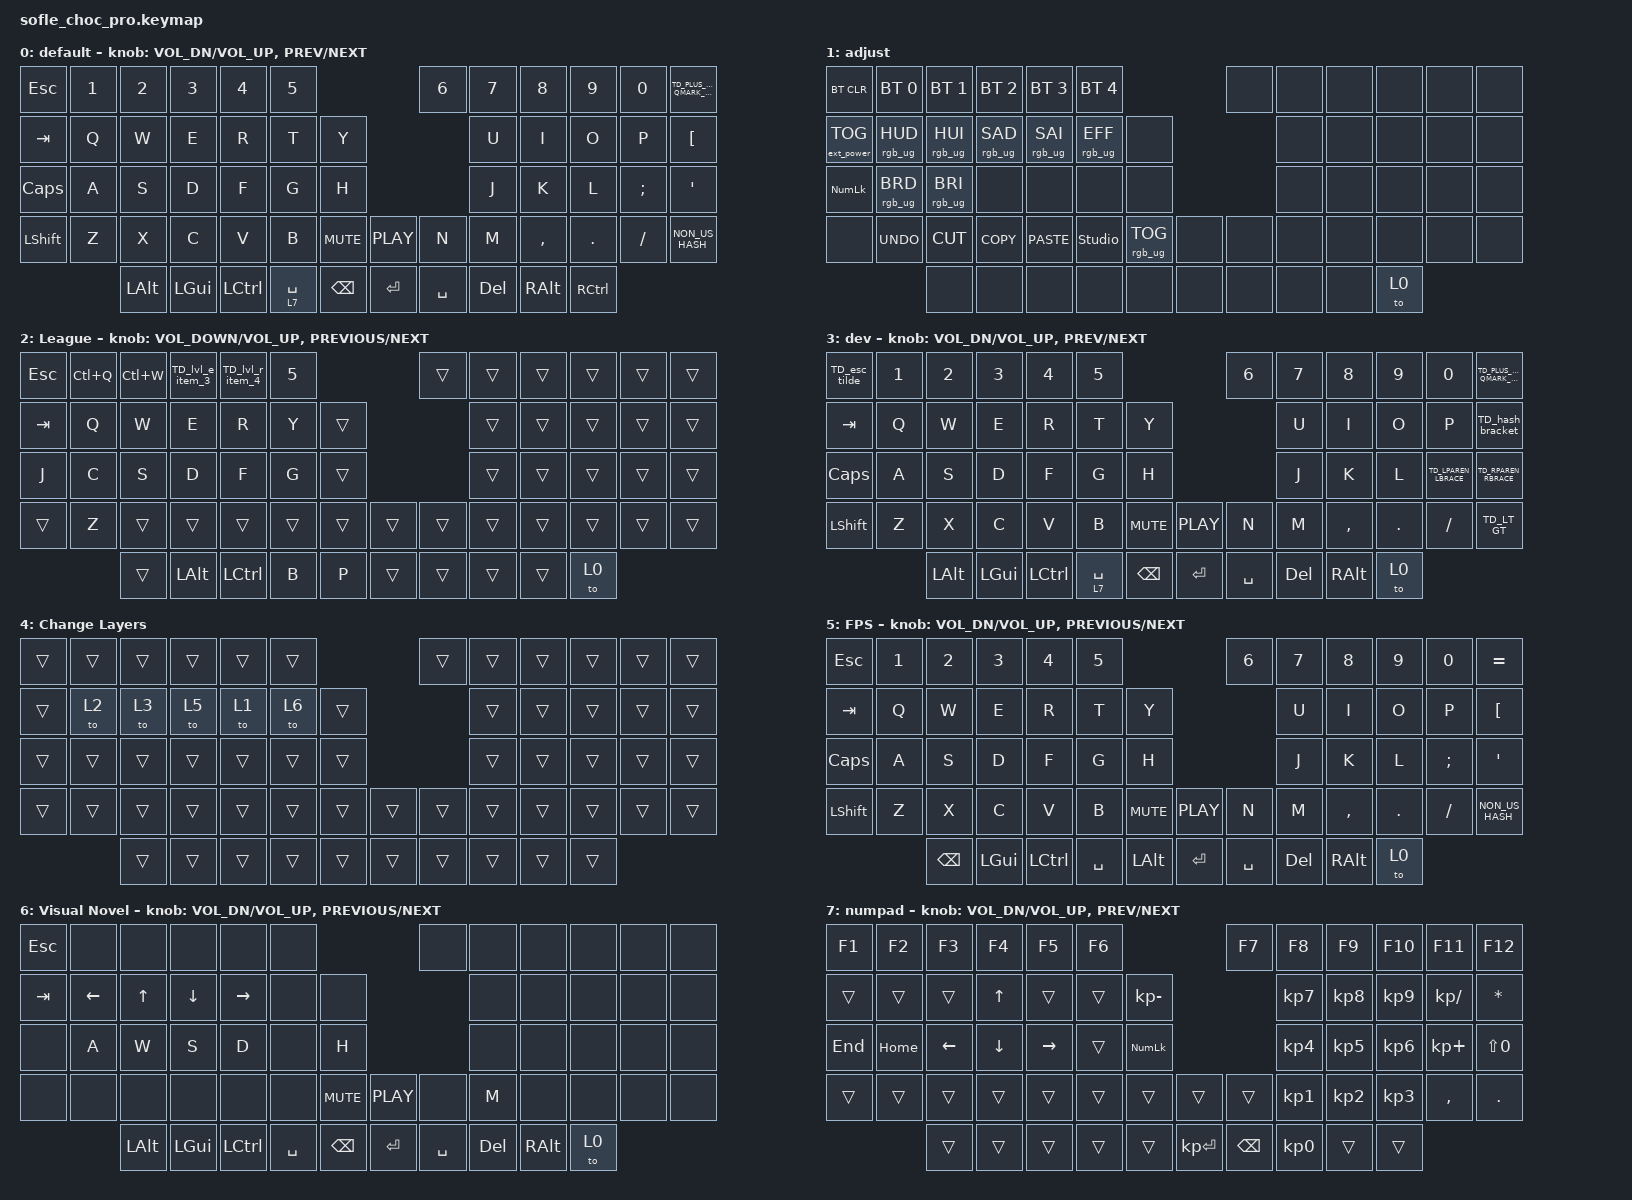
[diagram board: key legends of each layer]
/*
* Copyright (c) 2020 The ZMK Contributors
*
* SPDX-License-Identifier: MIT
*/

#include <behaviors.dtsi>
#include <dt-bindings/zmk/bt.h>
#include <dt-bindings/zmk/ext_power.h>
#include <dt-bindings/zmk/keys.h>
#include <dt-bindings/zmk/rgb.h>

#define BASE 0
#define LOWER 1
#define RAISE 2
#define ADJUST 3

/ {
    // Activate ADJUST layer by pressing raise and lower

    conditional_layers { compatible = "zmk,conditional-layers"; };

    behaviors {
        TD_PLUS_BSLASH_QMARK_GRAVE: TD_PLUS_BSLASH_QMARK_GRAVE {
            compatible = "zmk,behavior-tap-dance";
            label = "TD_PLUS_BSLASH_QMARK_GRAVE";
            #binding-cells = <0>;
            bindings = <&kp MINUS>, <&kp EQUAL>;
        };

        TD_lvl_e_item_3: TD_lvl_e_item_3 {
            compatible = "zmk,behavior-tap-dance";
            label = "TD_LVL_E_ITEM_3";
            #binding-cells = <0>;
            bindings = <&kp LC(E)>, <&kp NUMBER_3>;

            tapping-term-ms = <190>;
        };

        TD_lvl_r_item_4: TD_lvl_r_item_4 {
            compatible = "zmk,behavior-tap-dance";
            label = "TD_LVL_R_ITEM_4";
            #binding-cells = <0>;
            bindings = <&kp LC(R)>, <&kp NUMBER_4>;

            tapping-term-ms = <190>;
        };

        TD_esc_tilde: TD_esc_tilde {
            compatible = "zmk,behavior-tap-dance";
            label = "TD_ESC_TILDE";
            #binding-cells = <0>;
            bindings = <&kp ESCAPE>, <&kp GRAVE>;

            tapping-term-ms = <190>;
        };

        TD_hash_bracket: TD_hash_bracket {
            compatible = "zmk,behavior-tap-dance";
            label = "TD_HASH_BRACKET";
            #binding-cells = <0>;
            bindings = <&kp NON_US_HASH>, <&kp RIGHT_BRACKET>;

            tapping-term-ms = <190>;
        };

        TD_RPAREN_RBRACE: TD_RPAREN_RBRACE {
            compatible = "zmk,behavior-tap-dance";
            label = "TD_RPAREN_RBRACE";
            #binding-cells = <0>;
            bindings = <&kp LS(N9)>, <&kp RA(N0)>;

            tapping-term-ms = <190>;
        };

        TD_LPAREN_LBRACE: TD_LPAREN_LBRACE {
            compatible = "zmk,behavior-tap-dance";
            label = "TD_LPAREN_LBRACE";
            #binding-cells = <0>;
            bindings = <&kp LS(N8)>, <&kp RA(N7)>;

            tapping-term-ms = <190>;
        };

        TD_LT_GT: TD_LT_GT {
            compatible = "zmk,behavior-tap-dance";
            label = "TD_LT_GT";
            #binding-cells = <0>;
            bindings = <&kp NON_US_BACKSLASH>, <&kp LS(NON_US_BACKSLASH)>;

            tapping-term-ms = <190>;
        };
    };

    combos {
        compatible = "zmk,combos";

        adjust_layer {
            bindings = <&to 4>;
            key-positions = <28 29>;
        };
    };

    keymap {
        compatible = "zmk,keymap";

        default_layer {
            display-name = "default";

            // ------------------------------------------------------------------------------------------------------------
            // |   `   |  1  |  2  |  3   |  4   |  5   |                   |  6   |  7    |  8    |  9   |   0   |   `   |
            // |  ESC  |  Q  |  W  |  E   |  R   |  T   |                   |  Y   |  U    |  I    |  O   |   P   | BKSPC |
            // |  TAB  |  A  |  S  |  D   |  F   |  G   |                   |  H   |  J    |  K    |  L   |   ;   |   '   |
            // | SHIFT |  Z  |  X  |  C   |  V   |  B   |  MUTE  |  | PLAY  |  N   |  M    |  ,    |  .   |   /   | SHIFT |
            //               | GUI | ALT  | CTRL | LOWER|  ENTER |  | SPACE | RAISE| CTRL  | ALT   | GUI  |

            bindings = <
&kp ESCAPE    &kp NUMBER_1  &kp NUMBER_2  &kp N3    &kp N4     &kp N5                                  &kp N6     &kp N7   &kp N8     &kp N9     &kp N0    &TD_PLUS_BSLASH_QMARK_GRAVE
&kp TAB       &kp Q         &kp W         &kp E     &kp R      &kp T        &kp Y                                 &kp U    &kp I      &kp O      &kp P     &kp LEFT_BRACKET
&kp CAPSLOCK  &kp A         &kp S         &kp D     &kp F      &kp G        &kp H                                 &kp J    &kp K      &kp L      &kp SEMI  &kp SQT
&kp LSHFT     &kp Z         &kp X         &kp C     &kp V      &kp B        &kp C_MUTE     &kp C_PLAY  &kp N      &kp M    &kp COMMA  &kp DOT    &kp FSLH  &kp NON_US_HASH
                            &kp LALT      &kp LGUI  &kp LCTRL  &lt 7 SPACE  &kp BACKSPACE  &kp ENTER   &kp SPACE  &kp DEL  &kp RALT   &kp RCTRL
            >;

            sensor-bindings = <&inc_dec_kp C_VOL_DN C_VOL_UP &inc_dec_kp C_PREV C_NEXT>;
        };

        adjust_layer {
            // ----------------------------------------------------------------------------------------------------------------------------
            // | BTCLR  |  BT1    |  BT2    |   BT3   |   BT4   |   BT5   |                  |      |      |       |      |       |       |
            // | EXTPWR | RGB_HUD | RGB_HUI | RGB_SAD | RGB_SAI | RGB_EFF |                  |      |      |       |      |       |       |
            // |        | RGB_BRD | RGB_BRI |         |         |         |                  |      |      |       |      |       |       |
            // |        |         |         |         |         |         | RGB_TOG | |      |      |      |       |      |       |       |
            //                    |         |         |         |         |         | |      |      |      |       |      |

            display-name = "adjust";
            bindings = <
&bt BT_CLR         &bt BT_SEL 0     &bt BT_SEL 1     &bt BT_SEL 2     &bt BT_SEL 3     &bt BT_SEL 4                             &none  &none  &none  &none  &none  &none
&ext_power EP_TOG  &rgb_ug RGB_HUD  &rgb_ug RGB_HUI  &rgb_ug RGB_SAD  &rgb_ug RGB_SAI  &rgb_ug RGB_EFF  &none                          &none  &none  &none  &none  &none
&kp KP_NUMLOCK     &rgb_ug RGB_BRD  &rgb_ug RGB_BRI  &none            &none            &none            &none                          &none  &none  &none  &none  &none
&none              &kp K_UNDO       &kp K_CUT        &kp K_COPY       &kp K_PASTE      &studio_unlock   &rgb_ug RGB_TOG  &none  &none  &none  &none  &none  &none  &none
                                    &none            &none            &none            &none            &none            &none  &none  &none  &none  &to 0
            >;
        };

        league_layer {
            bindings = <
&kp ESCAPE  &kp LC(Q)  &kp LC(W)  &TD_lvl_e_item_3  &TD_lvl_r_item_4  &kp N5                  &trans  &trans  &trans  &trans  &trans  &trans
&kp TAB     &kp Q      &kp W      &kp E             &kp R             &kp Y   &trans                  &trans  &trans  &trans  &trans  &trans
&kp J       &kp C      &kp S      &kp D             &kp F             &kp G   &trans                  &trans  &trans  &trans  &trans  &trans
&trans      &kp Z      &trans     &trans            &trans            &trans  &trans  &trans  &trans  &trans  &trans  &trans  &trans  &trans
                       &trans     &kp LALT          &kp LCTRL         &kp B   &kp P   &trans  &trans  &trans  &trans  &to 0
            >;

            sensor-bindings =
                <&inc_dec_kp C_VOLUME_DOWN C_VOLUME_UP>,
                <&inc_dec_kp C_PREVIOUS C_NEXT>;

            label = "League";
        };

        dev_layer {
            display-name = "dev";
            bindings = <
&TD_esc_tilde  &kp N1  &kp N2    &kp N3    &kp N4     &kp N5                                  &kp N6     &kp N7   &kp N8     &kp N9   &kp N0             &TD_PLUS_BSLASH_QMARK_GRAVE
&kp TAB        &kp Q   &kp W     &kp E     &kp R      &kp T        &kp Y                                 &kp U    &kp I      &kp O    &kp P              &TD_hash_bracket
&kp CLCK       &kp A   &kp S     &kp D     &kp F      &kp G        &kp H                                 &kp J    &kp K      &kp L    &TD_LPAREN_LBRACE  &TD_RPAREN_RBRACE
&kp LSHFT      &kp Z   &kp X     &kp C     &kp V      &kp B        &kp C_MUTE     &kp C_PLAY  &kp N      &kp M    &kp COMMA  &kp DOT  &kp FSLH           &TD_LT_GT
                       &kp LALT  &kp LGUI  &kp LCTRL  &lt 7 SPACE  &kp BACKSPACE  &kp ENTER   &kp SPACE  &kp DEL  &kp RALT   &to 0
            >;

            sensor-bindings =
                <&inc_dec_kp C_VOL_DN C_VOL_UP>,
                <&inc_dec_kp C_PREV C_NEXT>;
        };

        layer_select {
            bindings = <
&trans  &trans  &trans  &trans  &trans  &trans                  &trans  &trans  &trans  &trans  &trans  &trans
&trans  &to 2   &to 3   &to 5   &to 1   &to 6   &trans                  &trans  &trans  &trans  &trans  &trans
&trans  &trans  &trans  &trans  &trans  &trans  &trans                  &trans  &trans  &trans  &trans  &trans
&trans  &trans  &trans  &trans  &trans  &trans  &trans  &trans  &trans  &trans  &trans  &trans  &trans  &trans
                &trans  &trans  &trans  &trans  &trans  &trans  &trans  &trans  &trans  &trans
            >;

            label = "Change Layers";
        };

        FPS_LAYER {
            bindings = <
&kp ESC    &kp N1  &kp N2    &kp N3    &kp N4     &kp N5                             &kp N6     &kp N7   &kp N8     &kp N9   &kp N0    &kp EQUAL
&kp TAB    &kp Q   &kp W     &kp E     &kp R      &kp T      &kp Y                              &kp U    &kp I      &kp O    &kp P     &kp LBKT
&kp CAPS   &kp A   &kp S     &kp D     &kp F      &kp G      &kp H                              &kp J    &kp K      &kp L    &kp SEMI  &kp APOS
&kp LSHFT  &kp Z   &kp X     &kp C     &kp V      &kp B      &kp C_MUTE  &kp C_PLAY  &kp N      &kp M    &kp COMMA  &kp DOT  &kp FSLH  &kp NON_US_HASH
                   &kp BSPC  &kp LGUI  &kp LCTRL  &kp SPACE  &kp LALT    &kp ENTER   &kp SPACE  &kp DEL  &kp RALT   &to 0
            >;

            sensor-bindings =
                <&inc_dec_kp C_VOL_DN C_VOLUME_UP>,
                <&inc_dec_kp C_PREVIOUS C_NEXT>;

            label = "FPS";
        };

        VN_LAYER {
            bindings = <
&kp ESCAPE  &none     &none         &none         &none      &none                                 &none      &none    &none          &none  &none  &none
&kp TAB     &kp LEFT  &kp UP_ARROW  &kp DOWN      &kp RIGHT  &none      &none                                 &none    &none          &none  &none  &none
&none       &kp A     &kp W         &kp S         &kp D      &none      &kp H                                 &none    &none          &none  &none  &none
&none       &none     &none         &none         &none      &none      &kp C_MUTE     &kp C_PLAY  &none      &kp M    &none          &none  &none  &none
                      &kp LEFT_ALT  &kp LEFT_GUI  &kp LCTRL  &kp SPACE  &kp BACKSPACE  &kp ENTER   &kp SPACE  &kp DEL  &kp RIGHT_ALT  &to 0
            >;

            sensor-bindings =
                <&inc_dec_kp C_VOL_DN C_VOL_UP>,
                <&inc_dec_kp C_PREVIOUS C_NEXT>;

            label = "Visual Novel";
        };

        numpad_layer {
            display-name = "numpad";

            // ------------------------------------------------------------------------------------------------------------
            // |       |  F1 |  F2 |  F3  |  F4  |  F5  |                   |  F6  |  F7   |  F8   |  F9  |  F10  |  F11  |
            // |   `   |  1  |  2  |  3   |  4   |  5   |                   |  6   |  7    |  8    |  9   |   0   |  F12  |
            // |       |  !  |  @  |  #   |  $   |  %   |                   |  ^   |  &    |  *    |  (   |   )   |   |   |
            // |       |  =  |  -  |  +   |  {   |  }   |        |  |       |  [   |  ]    |  ;    |  :   |   \   |       |
            //               |     |      |      |      |        |  |       |      |       |       |      |

            bindings = <
&kp F1   &kp F2    &kp F3    &kp F4        &kp F5     &kp F6                                &kp F7         &kp F8           &kp F9     &kp F10    &kp F11       &kp F12
&trans   &trans    &trans    &kp UP_ARROW  &trans     &trans  &kp KP_MINUS                                 &kp KP_N7        &kp KP_N8  &kp KP_N9  &kp KP_SLASH  &kp ASTERISK
&kp END  &kp HOME  &kp LEFT  &kp DOWN      &kp RIGHT  &trans  &kp KP_NUMLOCK                               &kp KP_N4        &kp KP_N5  &kp KP_N6  &kp KP_PLUS   &kp LS(N0)
&trans   &trans    &trans    &trans        &trans     &trans  &trans          &trans        &trans         &kp KP_N1        &kp KP_N2  &kp KP_N3  &kp COMMA     &kp DOT
                   &trans    &trans        &trans     &trans  &trans          &kp KP_ENTER  &kp BACKSPACE  &kp KP_NUMBER_0  &trans     &trans
            >;

            sensor-bindings = <&inc_dec_kp C_VOL_DN C_VOL_UP &inc_dec_kp C_PREV C_NEXT>;
        };
    };
};
